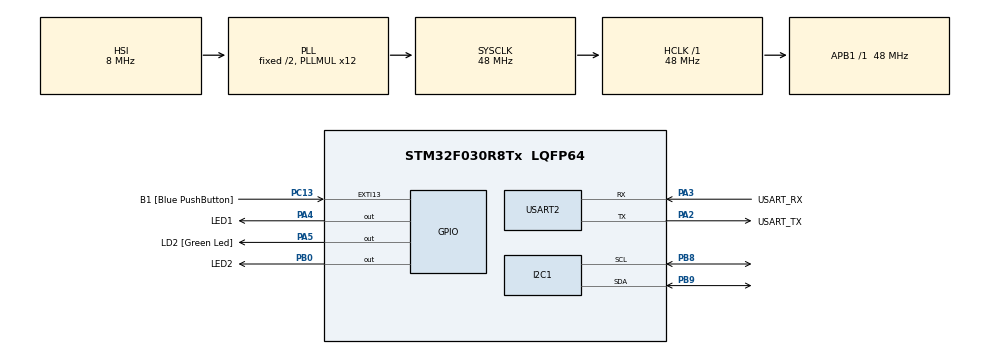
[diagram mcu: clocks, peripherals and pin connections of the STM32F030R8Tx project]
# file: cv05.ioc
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Dma.Request0=USART2_RX
Dma.USART2_RX.0.Direction=DMA_PERIPH_TO_MEMORY
Dma.USART2_RX.0.Instance=DMA1_Channel5
Dma.USART2_RX.0.MemDataAlignment=DMA_MDATAALIGN_BYTE
Dma.USART2_RX.0.MemInc=DMA_MINC_ENABLE
Dma.USART2_RX.0.Mode=DMA_CIRCULAR
Dma.USART2_RX.0.PeriphDataAlignment=DMA_PDATAALIGN_BYTE
Dma.USART2_RX.0.PeriphInc=DMA_PINC_DISABLE
Dma.USART2_RX.0.Priority=DMA_PRIORITY_LOW
Mcu.Family=STM32F0
Mcu.Name=STM32F030R8Tx
Mcu.Package=LQFP64
NVIC.DMA1_Channel4_5_IRQn=true\:0\:0\:false\:false\:true\:false\:true
PA13.GPIO_Label=TMS
PA13.Mode=Serial_Wire
PA13.Signal=SYS_SWDIO
PA14.GPIO_Label=TCK
PA14.Mode=Serial_Wire
PA14.Signal=SYS_SWCLK
PA2.GPIO_Label=USART_TX
PA2.GPIO_Mode=GPIO_MODE_AF_PP
PA2.GPIO_PuPd=GPIO_NOPULL
PA2.GPIO_Speed=GPIO_SPEED_FREQ_LOW
PA2.Mode=Asynchronous
PA2.Signal=USART2_TX
PA3.GPIO_Label=USART_RX
PA3.GPIO_Mode=GPIO_MODE_AF_PP
PA3.GPIO_PuPd=GPIO_NOPULL
PA3.GPIO_Speed=GPIO_SPEED_FREQ_LOW
PA3.Mode=Asynchronous
PA3.Signal=USART2_RX
PA4.GPIO_Label=LED1
PA4.Signal=GPIO_Output
PA5.GPIO_Label=LD2 [Green Led]
PA5.GPIO_Mode=GPIO_MODE_OUTPUT_PP
PA5.GPIO_PuPd=GPIO_NOPULL
PA5.GPIO_Speed=GPIO_SPEED_FREQ_LOW
PA5.Signal=GPIO_Output
PB0.GPIO_Label=LED2
PB0.Signal=GPIO_Output
PB8.Mode=I2C
PB8.Signal=I2C1_SCL
PB9.Mode=I2C
PB9.Signal=I2C1_SDA
PC13.GPIO_Label=B1 [Blue PushButton]
PC13.GPIO_ModeDefaultEXTI=GPIO_MODE_IT_FALLING
PC13.Signal=GPXTI13
PC14-OSC32_IN.Mode=LSE-External-Oscillator
PC14-OSC32_IN.Signal=RCC_OSC32_IN
PC15-OSC32_OUT.Mode=LSE-External-Oscillator
PC15-OSC32_OUT.Signal=RCC_OSC32_OUT
PF0-OSC_IN.Mode=HSE-External-Clock-Source
PF0-OSC_IN.Signal=RCC_OSC_IN
PF1-OSC_OUT.Signal=RCC_OSC_OUT
ProjectManager.HeapSize=0x200
ProjectManager.StackSize=0x400
ProjectManager.TargetToolchain=STM32CubeIDE
RCC.AHBFreq_Value=48000000
RCC.APB1Freq_Value=48000000
RCC.APB1TimFreq_Value=48000000
RCC.HCLKFreq_Value=48000000
RCC.PLLMUL=RCC_PLL_MUL12
RCC.SYSCLKFreq_VALUE=48000000
RCC.SYSCLKSource=RCC_SYSCLKSOURCE_PLLCLK
USART2.VirtualMode-Asynchronous=VM_ASYNC
board=NUCLEO-F030R8

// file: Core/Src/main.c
/* USER CODE BEGIN Header */
/**
  ******************************************************************************
  * @file           : main.c
  * @brief          : Main program body
  ******************************************************************************
  * @attention
  *
  * <h2><center>&copy; Copyright (c) 2020 STMicroelectronics.
  * All rights reserved.</center></h2>
  *
  * This software component is licensed by ST under BSD 3-Clause license,
  * the "License"; You may not use this file except in compliance with the
  * License. You may obtain a copy of the License at:
  *                        opensource.org/licenses/BSD-3-Clause
  *
  ******************************************************************************
  */
/* USER CODE END Header */
#include "main.h"

/* USER CODE BEGIN Includes */
#include <stdio.h>
#include <string.h>
/* USER CODE END Includes */

I2C_HandleTypeDef hi2c1;

UART_HandleTypeDef huart2;
DMA_HandleTypeDef hdma_usart2_rx;

/* USER CODE BEGIN PV */
#define EEPROM_ADDR		0xA0
#define RX_BUFFER_LEN 	64
#define CMD_BUFFER_LEN 	64

static uint8_t uart_rx_buf[RX_BUFFER_LEN];
static volatile uint16_t uart_rx_read_ptr = 0;
#define uart_rx_write_ptr (RX_BUFFER_LEN - hdma_usart2_rx.Instance->CNDTR)
/* USER CODE END PV */

void SystemClock_Config(void);
static void MX_GPIO_Init(void);
static void MX_DMA_Init(void);
static void MX_USART2_UART_Init(void);
static void MX_I2C1_Init(void);
/* USER CODE BEGIN PFP */

int _write(int file, char const *buf, int n)
{
	/* stdout redirection to UART2 */
	HAL_UART_Transmit(&huart2, (uint8_t*)(buf), n, HAL_MAX_DELAY);
	return n;
}

static void uart_process_command(char *cmd)						//process command coming to uart
{
	//printf("prijato: '%s'\n", cmd);

	char *token;
	token = strtok(cmd, " ");

	if (strcasecmp(token, "HELLO") == 0)
	{
		printf("Komunikace OK\n");
	}
	else if (strcasecmp(token, "LED1") == 0)								//set LED1 ON/OFF
	{
		token = strtok(NULL, " ");
		if (strcasecmp(token, "ON") == 0)
		{
			HAL_GPIO_WritePin(LED1_GPIO_Port, LED1_Pin, GPIO_PIN_SET);
		}
		else if (strcasecmp(token, "OFF") == 0)
		{
			HAL_GPIO_WritePin(LED1_GPIO_Port, LED1_Pin, GPIO_PIN_RESET);
		}
		printf("OK\n");
	}
	else if (strcasecmp(token, "LED2") == 0)								//set LED2 ON/OFF
	{
		token = strtok(NULL, " ");
		if (strcasecmp(token, "ON") == 0)
		{
			HAL_GPIO_WritePin(LED2_GPIO_Port, LED2_Pin, GPIO_PIN_SET);
		}
		else if (strcasecmp(token, "OFF") == 0)
		{
			HAL_GPIO_WritePin(LED2_GPIO_Port, LED2_Pin, GPIO_PIN_RESET);
		}
		printf("OK\n");
	}
	else if (strcasecmp(token, "STATUS") == 0)								//get LED1 and LED2 current status (ON/OFF)
	{
		printf("Stav: ");
		if (HAL_GPIO_ReadPin(LED1_GPIO_Port, LED1_Pin) == 0)

			printf("LED1=OFF, ");
		else
			printf("LED1=ON, ");

		if (HAL_GPIO_ReadPin(LED2_GPIO_Port, LED2_Pin) == 0)
			printf("LED2=OFF\n");
		else
			printf("LED2=ON\n");
	}
	else if (strcasecmp(token, "READ") == 0)								//read 1B from I2C EEPROM (e.g. read 0 - read value from address 0)
	{
		token = strtok(NULL, " ");
		uint16_t addr = atoi(token);
		uint8_t value;

		HAL_I2C_Mem_Read(&hi2c1, EEPROM_ADDR, addr, I2C_MEMADD_SIZE_16BIT, &value, 1, 1000);

		printf("Adresa 0x%04X = 0x%02X\n",addr, value);
	}
	else if (strcasecmp(token, "WRITE") == 0)								//write 1B to I2C EEPROM (e.g. write 0 2 - write 0x02 to address 0)
	{
		token = strtok(NULL, " ");
		uint16_t addr = atoi(token);
		token = strtok(NULL, " ");
		uint8_t value = atoi(token);

		HAL_I2C_Mem_Write(&hi2c1, EEPROM_ADDR, addr, I2C_MEMADD_SIZE_16BIT, &value, 1, 1000);

		while (HAL_I2C_IsDeviceReady(&hi2c1, EEPROM_ADDR, 300, 1000) == HAL_TIMEOUT) {}	// Check if the EEPROM is ready for a new operation
		printf("OK\n");
	}
	else if (strcasecmp(token, "DUMP") == 0)								//read all data from address 0x0000 to 0x000F
	{
		uint8_t addr = 0x0000;
		uint8_t value[16];

		HAL_I2C_Mem_Read(&hi2c1, EEPROM_ADDR, addr, I2C_MEMADD_SIZE_16BIT, &value, 16, 1000);
		for (uint8_t i = 0; i < 16; i++)
		{
			if (i % 8 == 0 && i != 0)
				printf("\n");

			printf("%02X ",value[i]);

		}
		printf("\n");
	}
	else
	{
		printf("Neznamy prikaz\n");
	}

}

static void uart_byte_available(uint8_t c)
{
	static uint16_t cnt;
	static char data[CMD_BUFFER_LEN];
	if (cnt < CMD_BUFFER_LEN && c >= 32 && c <= 126)
		data[cnt++] = c;
	if ((c == '\n' || c == '\r') && cnt > 0)
	{
		data[cnt] = '\0';
		uart_process_command(data);
		cnt = 0;
	}
}
/* USER CODE END PFP */

int main(void)
{

  /* MCU Configuration--------------------------------------------------------*/

  /* Reset of all peripherals, Initializes the Flash interface and the Systick. */
  HAL_Init();

  /* Configure the system clock */
  SystemClock_Config();

  /* Initialize all configured peripherals */
  MX_GPIO_Init();
  MX_DMA_Init();
  MX_USART2_UART_Init();
  MX_I2C1_Init();
  /* USER CODE BEGIN 2 */

  HAL_UART_Receive_DMA(&huart2, uart_rx_buf, RX_BUFFER_LEN);

  /* USER CODE END 2 */

  /* Infinite loop */
  while (1)
  {

    /* USER CODE BEGIN 3 */
		while (uart_rx_read_ptr != uart_rx_write_ptr)
		{
			uint8_t b = uart_rx_buf[uart_rx_read_ptr];
			if (++uart_rx_read_ptr >= RX_BUFFER_LEN) uart_rx_read_ptr = 0; // increase read pointer
			uart_byte_available(b); // process every received byte with the RX state machine
		}
	 /*uint8_t c;
	  HAL_UART_Receive(&huart2, &c, 1, HAL_MAX_DELAY);
	  HAL_UART_Transmit(&huart2, &c, 1, HAL_MAX_DELAY);
	  */

  }
  /* USER CODE END 3 */
}

void SystemClock_Config(void)
{
  RCC_OscInitTypeDef RCC_OscInitStruct = {0};
  RCC_ClkInitTypeDef RCC_ClkInitStruct = {0};
  RCC_PeriphCLKInitTypeDef PeriphClkInit = {0};

  /** Initializes the RCC Oscillators according to the specified parameters
  * in the RCC_OscInitTypeDef structure.
  */
  RCC_OscInitStruct.OscillatorType = RCC_OSCILLATORTYPE_HSI;
  RCC_OscInitStruct.HSIState = RCC_HSI_ON;
  RCC_OscInitStruct.HSICalibrationValue = RCC_HSICALIBRATION_DEFAULT;
  RCC_OscInitStruct.PLL.PLLState = RCC_PLL_ON;
  RCC_OscInitStruct.PLL.PLLSource = RCC_PLLSOURCE_HSI;
  RCC_OscInitStruct.PLL.PLLMUL = RCC_PLL_MUL12;
  RCC_OscInitStruct.PLL.PREDIV = RCC_PREDIV_DIV1;
  if (HAL_RCC_OscConfig(&RCC_OscInitStruct) != HAL_OK)
  {
    Error_Handler();
  }
  /** Initializes the CPU, AHB and APB buses clocks
  */
  RCC_ClkInitStruct.ClockType = RCC_CLOCKTYPE_HCLK|RCC_CLOCKTYPE_SYSCLK
                              |RCC_CLOCKTYPE_PCLK1;
  RCC_ClkInitStruct.SYSCLKSource = RCC_SYSCLKSOURCE_PLLCLK;
  RCC_ClkInitStruct.AHBCLKDivider = RCC_SYSCLK_DIV1;
  RCC_ClkInitStruct.APB1CLKDivider = RCC_HCLK_DIV1;

  if (HAL_RCC_ClockConfig(&RCC_ClkInitStruct, FLASH_LATENCY_1) != HAL_OK)
  {
    Error_Handler();
  }
  PeriphClkInit.PeriphClockSelection = RCC_PERIPHCLK_I2C1;
  PeriphClkInit.I2c1ClockSelection = RCC_I2C1CLKSOURCE_HSI;
  if (HAL_RCCEx_PeriphCLKConfig(&PeriphClkInit) != HAL_OK)
  {
    Error_Handler();
  }
}

static void MX_I2C1_Init(void)
{

  hi2c1.Instance = I2C1;
  hi2c1.Init.Timing = 0x2000090E;
  hi2c1.Init.OwnAddress1 = 0;
  hi2c1.Init.AddressingMode = I2C_ADDRESSINGMODE_7BIT;
  hi2c1.Init.DualAddressMode = I2C_DUALADDRESS_DISABLE;
  hi2c1.Init.OwnAddress2 = 0;
  hi2c1.Init.OwnAddress2Masks = I2C_OA2_NOMASK;
  hi2c1.Init.GeneralCallMode = I2C_GENERALCALL_DISABLE;
  hi2c1.Init.NoStretchMode = I2C_NOSTRETCH_DISABLE;
  if (HAL_I2C_Init(&hi2c1) != HAL_OK)
  {
    Error_Handler();
  }
  /** Configure Analogue filter
  */
  if (HAL_I2CEx_ConfigAnalogFilter(&hi2c1, I2C_ANALOGFILTER_ENABLE) != HAL_OK)
  {
    Error_Handler();
  }
  /** Configure Digital filter
  */
  if (HAL_I2CEx_ConfigDigitalFilter(&hi2c1, 0) != HAL_OK)
  {
    Error_Handler();
  }

}

static void MX_USART2_UART_Init(void)
{

  huart2.Instance = USART2;
  huart2.Init.BaudRate = 38400;
  huart2.Init.WordLength = UART_WORDLENGTH_8B;
  huart2.Init.StopBits = UART_STOPBITS_1;
  huart2.Init.Parity = UART_PARITY_NONE;
  huart2.Init.Mode = UART_MODE_TX_RX;
  huart2.Init.HwFlowCtl = UART_HWCONTROL_NONE;
  huart2.Init.OverSampling = UART_OVERSAMPLING_16;
  huart2.Init.OneBitSampling = UART_ONE_BIT_SAMPLE_DISABLE;
  huart2.AdvancedInit.AdvFeatureInit = UART_ADVFEATURE_NO_INIT;
  if (HAL_UART_Init(&huart2) != HAL_OK)
  {
    Error_Handler();
  }

}

static void MX_DMA_Init(void)
{

  /* DMA controller clock enable */
  __HAL_RCC_DMA1_CLK_ENABLE();

  /* DMA interrupt init */
  /* DMA1_Channel4_5_IRQn interrupt configuration */
  HAL_NVIC_SetPriority(DMA1_Channel4_5_IRQn, 0, 0);
  HAL_NVIC_EnableIRQ(DMA1_Channel4_5_IRQn);

}

static void MX_GPIO_Init(void)
{
  GPIO_InitTypeDef GPIO_InitStruct = {0};

  /* GPIO Ports Clock Enable */
  __HAL_RCC_GPIOC_CLK_ENABLE();
  __HAL_RCC_GPIOF_CLK_ENABLE();
  __HAL_RCC_GPIOA_CLK_ENABLE();
  __HAL_RCC_GPIOB_CLK_ENABLE();

  /*Configure GPIO pin Output Level */
  HAL_GPIO_WritePin(GPIOA, LED1_Pin|LD2_Pin, GPIO_PIN_RESET);

  /*Configure GPIO pin Output Level */
  HAL_GPIO_WritePin(LED2_GPIO_Port, LED2_Pin, GPIO_PIN_RESET);

  /*Configure GPIO pin : B1_Pin */
  GPIO_InitStruct.Pin = B1_Pin;
  GPIO_InitStruct.Mode = GPIO_MODE_IT_FALLING;
  GPIO_InitStruct.Pull = GPIO_NOPULL;
  HAL_GPIO_Init(B1_GPIO_Port, &GPIO_InitStruct);

  /*Configure GPIO pins : LED1_Pin LD2_Pin */
  GPIO_InitStruct.Pin = LED1_Pin|LD2_Pin;
  GPIO_InitStruct.Mode = GPIO_MODE_OUTPUT_PP;
  GPIO_InitStruct.Pull = GPIO_NOPULL;
  GPIO_InitStruct.Speed = GPIO_SPEED_FREQ_LOW;
  HAL_GPIO_Init(GPIOA, &GPIO_InitStruct);

  /*Configure GPIO pin : LED2_Pin */
  GPIO_InitStruct.Pin = LED2_Pin;
  GPIO_InitStruct.Mode = GPIO_MODE_OUTPUT_PP;
  GPIO_InitStruct.Pull = GPIO_NOPULL;
  GPIO_InitStruct.Speed = GPIO_SPEED_FREQ_LOW;
  HAL_GPIO_Init(LED2_GPIO_Port, &GPIO_InitStruct);

}

void Error_Handler(void)
{
}

/************************ (C) COPYRIGHT STMicroelectronics *****END OF FILE****/
